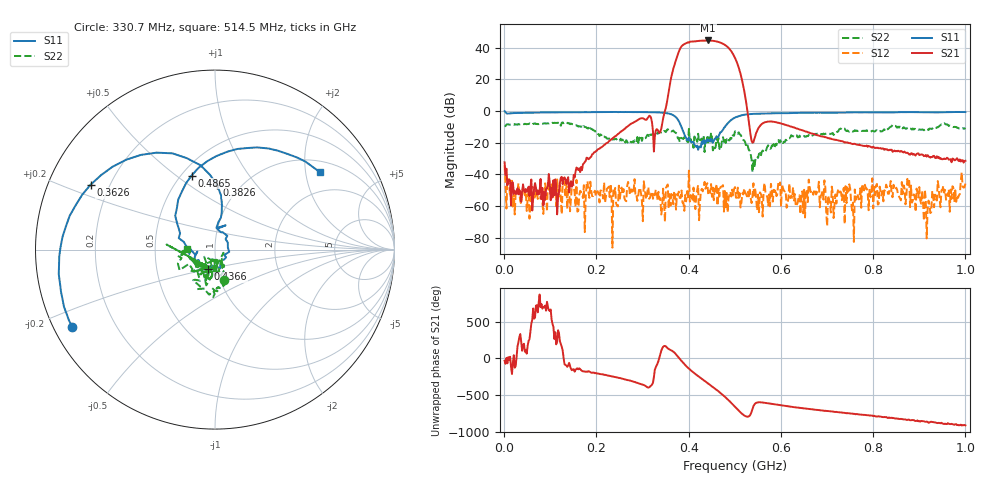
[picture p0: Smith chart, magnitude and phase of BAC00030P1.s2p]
!measured: 2026-10-27T15:17:18
!cal_instance: BBtestOct27
!cal_created: 2026-10-27T14:45
!cal_file: BBtesting.cal
!port1_delay_ps: -58.63
!port2_delay_ps: -59.31
!host: dhcp-10-250-247-203.harvard.edu
! Created with skrf 2.1.0 (http://scikit-rf.org).
# Hz S RI R 50.0
!freq ReS11 ImS11 ReS21 ImS21 ReS12 ImS12 ReS22 ImS22
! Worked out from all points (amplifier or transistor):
!   501 points, 1 MHz to 1 GHz, reference 50 ohm
!   highest |S21| = 44.6 dB at 442.6 MHz (marker M1)
!   |S21| within 3 dB of that: 387.2 MHz to 479.5 MHz (92.3 MHz wide, 21.3 % of centre)
!   unconditionally stable (mu >= 1): start of sweep to 400.1 MHz; 401 MHz to 434.2 MHz; 460.6 MHz to end of sweep (the widest 3 of 6)
!   at 166.8 MHz: K = 1627.04, MAG = -27.2 dB, |S12| = -51.1 dB
!   at 500.5 MHz: K = 1.63, MAG = 36.2 dB, |S12| = -48.1 dB
!   at 1 GHz: K = 495.61, MAG = -22.7 dB, |S12| = -45.9 dB
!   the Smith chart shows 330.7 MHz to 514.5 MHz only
!   S11 on the Smith chart (normalised r, x): 330.7 MHz: 0.05, -0.25; 362.6 MHz: 0.13, +0.24; 382.6 MHz: 0.79, +0.65; 436.6 MHz: 0.90, -0.20; 486.5 MHz: 0.56, +0.57; 514.5 MHz: 1.32, +2.41
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1000000  -0.3472 0.9258  0.0203 -0.0125  -0.0191 -0.00171  0.3281 -0.028
1.68832e8  0.5116 -0.7565  -0.0133 -0.0023  0.00165 -0.00186  -0.0371 -0.3225
3.3067e8  -0.7948 -0.4305  -0.0259 -0.2652  -0.00188 0.00197  0.0494 -0.1711
3.34666e8  -0.8262 -0.3592  0.1939 -0.1182  0.00216 0.00176  0.0706 -0.181
3.62638e8  -0.6936 0.3611  -4.04 11.62  -0.000765 0.00227  -0.0572 -0.217
3.74626e8  -0.2367 0.5362  38.74 32.74  -0.00232 0.000111  -0.0835 -0.1735
3.82618e8  0.0118 0.3601  93.83 -33.76  -0.00142 0.00107  -0.1104 -0.0867
3.94606e8  0.0149 0.14  -33.05 -134.8  0.00134 -0.000357  -0.0722 -0.1034
4.02598e8  0.0121 0.1158  -133.3 -74.82  0.000381 0.00133  -0.0566 -0.0867
4.08592e8  0.043 0.0965  -156.2 5.83  0.00125 0.000596  -0.0695 -0.0873
4.22578e8  0.0621 -0.0425  -56 154.3  -0.000107 0.000337  -0.0421 -0.0965
4.36564e8  -0.0403 -0.109  117.3 120.2  0.0027 0.00221  0.0183 -0.13
4.42558e8  -0.0938 -0.0581  160.3 53.46  -0.000823 -0.00209  -0.0631 -0.0683
4.52548e8  -0.0983 -0.0113  144.9 -77.9  -0.00204 -0.00318  0.00853 -0.0561
4.64536e8  -0.154 0.00875  8.759 -151.2  -0.00317 -0.00136  0.00403 -0.1425
4.76524e8  -0.2217 0.1883  -110.4 -64.02  8.06e-05 -0.000656  -0.00334 -0.1053
4.86514e8  -0.13 0.4128  -86.15 47.03  -0.000854 -0.00153  -0.0321 -0.1155
5.005e8  0.2349 0.5693  21.99 42.26  -0.003 0.00253  -0.1975 -0.1139
5.14486e8  0.585 0.4313  10.2 -5.033  0.000226 0.00129  -0.1576 0.00409
6.68332e8  0.1149 -0.8745  0.1714 0.0888  0.00256 -0.0011  0.0337 -0.1634
8.34166e8  -0.5571 -0.7018  0.0066 -0.0568  0.00242 -5.05e-05  -0.1609 -0.2337
1e9  -0.8776 -0.2894  -0.0262 0.00503  -0.000886 -0.00497  -0.2405 -0.1678
